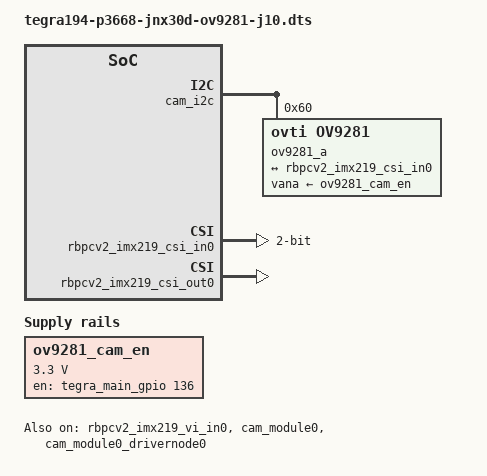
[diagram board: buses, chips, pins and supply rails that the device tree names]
// SPDX-License-Identifier: GPL-2.0-only
/*
 * Arducam UC-788 Rev.B (OV9281, Raspberry-Pi 15-pin format, no Jetvariety MCU)
 * on Auvidea JNX30D connector J10 (CSI-2 A, 2 lanes) with Jetson Xavier NX,
 * L4T R35.6.x. Driver: nv_ov9281 (compatible "ovti,ov9281").
 *
 * Base DTB requirement: NVIDIA p3509-style Xavier NX DTB built with symbols
 * (-@), exposing these labels: cam_i2c, tegra_main_gpio, bpmp, tcp,
 * cam_module0, cam_module0_drivernode0, cam_module1, imx219_cam0, imx219_cam1,
 * rbpcv2_imx219_{vi_in0,csi_in0,csi_out0,vi_in1,csi_in1,csi_out1}.
 * scripts/40-deploy-dt.sh verifies this on the target before merging.
 *
 * Hardware facts used (JNX30D manual v1.7, sec. 5.7 / 5.4 / App. C):
 *   J10 pins 14/15 = CSI_A_CLK, 17/18 = CSI_A_D1, 20/21 = CSI_A_D0
 *       -> NVCSI brick A, port-index 0, "serial_a", 2 lanes
 *   J10 pins 2/3   = CAM_I2C (module 213/215) -> /i2c@3180000 = i2c-2, 3.3 V
 *   J10 pin 6      = camera power enable (Pi pin 11), follows module pin 206
 *                    (GPIO07 / soc_gpio44_pr0 = TEGRA194_MAIN_GPIO(R,0) = 136)
 *       -> MEASURED on a JNX30D: PR.00 HIGH => camera ON. The manual describes
 *          an inverter (LOW = on); that did not hold on our board.
 *
 * Literal constants (from R35.6.4 dt-bindings):
 *   TEGRA194_CLK_EXTPERIPH1 = 36, TEGRA194_MAIN_GPIO(R,0) = 17*8+0 = 136
 *
 * Build:  dtc -@ -I dts -O dtb -o ov9281-j10.dtbo tegra194-p3668-jnx30d-ov9281-j10.dts
 */

/dts-v1/;
/plugin/;

/ {
	overlay-name = "JNX30D J10 OV9281 (UC-788)";
	compatible = "nvidia,p3509-0000+p3668-0000", "nvidia,p3509-0000+p3668-0001",
		     "nvidia,p3449-0000+p3668-0000", "nvidia,p3449-0000+p3668-0001";

	/* 1. Camera power enable as a GPIO regulator (active-HIGH at the SoC,
	 *    measured; manual claims an inverter). The regulator core owns the line;
	 *    requesting it switches the pad from PWM8 to GPIO and un-tristates
	 *    it (pinctrl-tegra gpio_request_enable / gpio_set_direction).
	 *    enable-active-high => enabled == physical HIGH (measured).     */
	fragment@0 {
		target-path = "/";
		__overlay__ {
			ov9281_cam_en: regulator-ov9281-cam-en {
				compatible = "regulator-fixed";
				regulator-name = "ov9281-cam-en";
				regulator-min-microvolt = <3300000>;
				regulator-max-microvolt = <3300000>;
				/* MEASURED 2026-10-19 with OV5647 on this board: PR.00 HIGH = camera ON */
				gpio = <&tegra_main_gpio 136 0>;
				enable-active-high;
				startup-delay-us = <20000>;
			};
		};
	};

	/* 2. The JNX30D has no dev-kit I2C mux: each connector has its own bus.
	 *    Disable the dev-kit mux (stops it toggling AON GPIO CC.03) and the
	 *    stock IMX219 nodes behind it.                                    */
	fragment@1 {
		target-path = "/cam_i2cmux";
		__overlay__ {
			status = "disabled";
		};
	};
	fragment@2 {
		target = <&imx219_cam0>;
		__overlay__ {
			status = "disabled";
		};
	};
	fragment@3 {
		target = <&imx219_cam1>;
		__overlay__ {
			status = "disabled";
		};
	};

	/* 3. Sensor directly on CAM_I2C (i2c-2), address 0x60 (SID low). */
	fragment@4 {
		target = <&cam_i2c>;
		__overlay__ {
			#address-cells = <1>;
			#size-cells = <0>;
			status = "okay";

			ov9281_a@60 {
				compatible = "ovti,ov9281";
				reg = <0x60>;
				devnode = "video0";

				/* nv_ov9281 requires an mclk; the UC-788 has its own
				 * oscillator and J10 carries no MCLK, so this clock only
				 * satisfies the driver (same form as T194 imx185 DT). */
				clocks = <&bpmp 36>, <&bpmp 36>;
				clock-names = "extperiph1", "pllp_grtba";
				mclk = "extperiph1";

				/* camera enable (J10 pin 6) via regulator above */
				avdd-reg = "vana";
				vana-supply = <&ov9281_cam_en>;

				physical_w = "3.840";
				physical_h = "2.400";
				sensor_model = "ov9281";
				use_sensor_mode_id = "true";

				/* 1280x800 RAW10, 2-lane, continuous clock (0x4800=0x00).
				 * Timing: sensor HTS reg 728 (counts 2-px units) = 1456 px
				 * line, VTS 1820,
				 * 160 MHz pixel rate from a 24 MHz input => ~60.4 fps,
				 * 400 MHz MIPI link. R35 has no mono path, so the
				 * sensor is exposed as BGGR10 (driver default fmt). */
				mode0 {
					mclk_khz = "24000";
					num_lanes = "2";
					tegra_sinterface = "serial_a";
					phy_mode = "DPHY";
					discontinuous_clk = "no";
					dpcm_enable = "false";
					cil_settletime = "0";

					active_w = "1280";
					active_h = "800";
					mode_type = "bayer";
					pixel_phase = "bggr";
					csi_pixel_bit_depth = "10";
					readout_orientation = "0";
					line_length = "1456";
					inherent_gain = "1";
					mclk_multiplier = "6.67";
					pix_clk_hz = "160000000";

					gain_factor = "16";
					framerate_factor = "1000000";
					exposure_factor = "1000000";
					min_gain_val = "16";
					max_gain_val = "248";
					step_gain_val = "1";
					default_gain = "16";
					min_hdr_ratio = "1";
					max_hdr_ratio = "1";
					min_framerate = "2000000";
					max_framerate = "60000000";
					step_framerate = "1";
					default_framerate = "60000000";
					min_exp_time = "10";
					max_exp_time = "16500";
					step_exp_time = "1";
					default_exp_time = "6200";
					embedded_metadata_height = "0";
				};

				ports {
					#address-cells = <1>;
					#size-cells = <0>;
					port@0 {
						reg = <0>;
						ov9281_out0: endpoint {
							status = "okay";
							port-index = <0>;
							bus-width = <2>;
							remote-endpoint = <&rbpcv2_imx219_csi_in0>;
						};
					};
				};
			};
		};
	};

	/* 4. Graph channel 0: sensor -> NVCSI ch0 (brick A) -> VI port0. */
	fragment@5 {
		target = <&rbpcv2_imx219_csi_in0>;
		__overlay__ {
			status = "okay";
			port-index = <0>;
			bus-width = <2>;
			remote-endpoint = <&ov9281_out0>;
		};
	};
	fragment@6 {
		target = <&rbpcv2_imx219_csi_out0>;
		__overlay__ {
			status = "okay";
		};
	};
	fragment@7 {
		target = <&rbpcv2_imx219_vi_in0>;
		__overlay__ {
			status = "okay";
			port-index = <0>;
			bus-width = <2>;
		};
	};

	/* 5. Graph channel 1 unused: disable so VI does not wait on it. */
	fragment@8 {
		target = <&rbpcv2_imx219_vi_in1>;
		__overlay__ {
			status = "disabled";
		};
	};
	fragment@9 {
		target = <&rbpcv2_imx219_csi_in1>;
		__overlay__ {
			status = "disabled";
		};
	};
	fragment@10 {
		target = <&rbpcv2_imx219_csi_out1>;
		__overlay__ {
			status = "disabled";
		};
	};

	/* 6. Camera platform (used by Argus; V4L2 capture does not need it). */
	fragment@11 {
		target = <&tcp>;
		__overlay__ {
			num_csi_lanes = <2>;
			max_lane_speed = <1500000>;
			min_bits_per_pixel = <10>;
		};
	};
	fragment@12 {
		target = <&cam_module0>;
		__overlay__ {
			status = "okay";
			badge = "jnx30d_front_ov9281";
			position = "front";
			orientation = "1";
		};
	};
	fragment@13 {
		target = <&cam_module0_drivernode0>;
		__overlay__ {
			status = "okay";
			pcl_id = "v4l2_sensor";
			devname = "ov9281 2-0060";
			proc-device-tree = "/proc/device-tree/i2c@3180000/ov9281_a@60";
		};
	};
	fragment@14 {
		target = <&cam_module1>;
		__overlay__ {
			status = "disabled";
		};
	};
};
